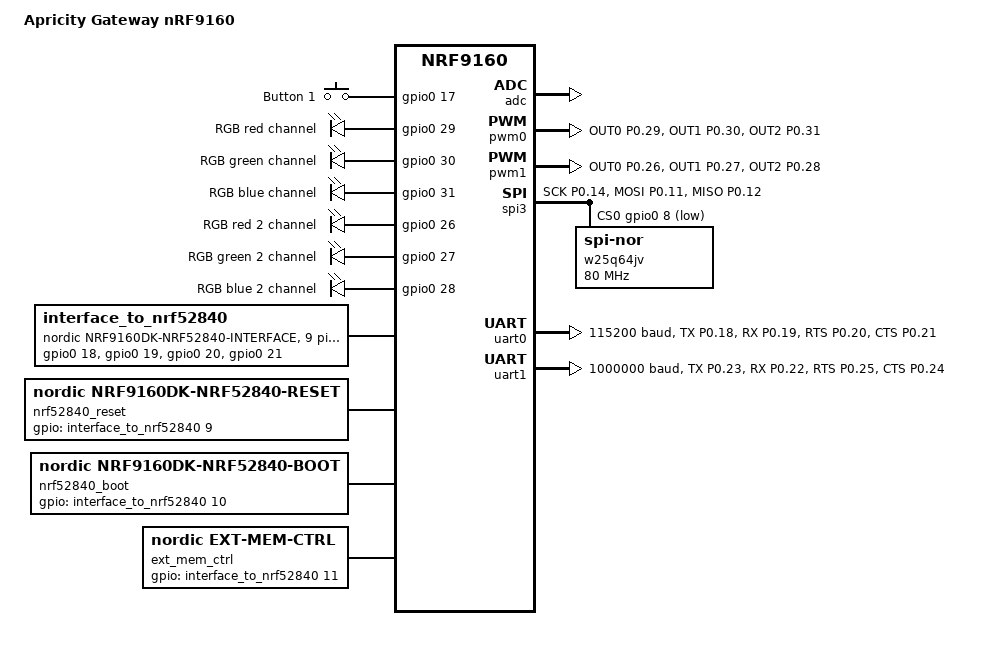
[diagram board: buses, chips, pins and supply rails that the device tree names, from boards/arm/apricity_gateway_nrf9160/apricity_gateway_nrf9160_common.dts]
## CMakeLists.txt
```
#
# Copyright (c) 2024 Nordic Semiconductor ASA
#
# SPDX-License-Identifier: LicenseRef-Nordic-5-Clause
#

cmake_minimum_required(VERSION 3.20.0)

set(BOARD_ROOT ${CMAKE_CURRENT_LIST_DIR})

find_package(Zephyr REQUIRED HINTS $ENV{ZEPHYR_BASE})
project(nrf_cloud_ble_gateway)
zephyr_compile_definitions(PROJECT_NAME=${PROJECT_NAME})

# Include certs files if enabled.
zephyr_include_directories_ifdef(CONFIG_NRF_CLOUD_PROVISION_CERTIFICATES certs)

# NORDIC SDK APP START
target_sources(app PRIVATE src/main.c)
target_sources(app PRIVATE src/application.c)
target_sources(app PRIVATE src/cloud_connection.c)
target_sources(app PRIVATE src/message_queue.c)
target_sources(app PRIVATE src/temperature.c)
target_sources(app PRIVATE src/fota_support.c)
target_sources(app PRIVATE src/led_control.c)
target_sources(app PRIVATE src/sample_reboot.c)
target_sources(app PRIVATE src/shadow_config.c)

if(CONFIG_LOCATION_TRACKING)
target_sources(app PRIVATE src/location_tracking.c)
endif()

if(CONFIG_COAP_SHADOW)
target_sources(app PRIVATE src/shadow_support_coap.c)
endif()

if(CONFIG_COAP_FOTA)
target_sources(app PRIVATE src/fota_support_coap.c)
endif()

if(CONFIG_NRF_PROVISIONING)
target_sources(app PRIVATE src/provisioning_support.c)
endif()

# Include modem-specific features if supported
if(CONFIG_NRF_MODEM_LIB)
	target_sources(app PRIVATE src/at_commands.c)
endif()

zephyr_include_directories(src)

if (CONFIG_NRF_CLOUD_GATEWAY)
    target_sources(app PRIVATE src/ble/ble.c)
    target_sources(app PRIVATE src/ble/ble_codec.c)
    target_sources(app PRIVATE src/ble/ble_conn_mgr.c)
    target_sources(app PRIVATE src/ble/gateway.c)
    target_sources_ifdef(CONFIG_SHELL app PRIVATE src/ble/cli.c)
    target_sources_ifdef(CONFIG_GATEWAY_BLE_FOTA app PRIVATE src/ble/dfu/peripheral_dfu.c)
    target_sources_ifdef(CONFIG_FLASH_TEST, app PRIVATE src/ble/flash/flash_test.c)
    zephyr_include_directories(src src/ble src/ble/flash src/ble/dfu)
    #add_subdirectory(src/ble/dfu)
    add_subdirectory(src/ble/flash)
endif()

# NORDIC SDK APP END
```

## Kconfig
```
#
# Copyright (c) 2024 Nordic Semiconductor ASA
#
# SPDX-License-Identifier: LicenseRef-Nordic-5-Clause
#

menu "nRF Cloud BLE Gateway Sample Settings"

config APP_VERSION
	string "nRF Cloud BLE Gateway Sample version"
	default "1.0.0"

config USE_BT_HCI_SETUP
	bool "Use BT HCI setup"
	default y
	select BT_HCI_SETUP
	help
	  Get the setup to run.

config CLOUD_CONNECTION_RETRY_TIMEOUT_SECONDS
	int "Cloud connection retry timeout (seconds)"
	default 30
	help
	  If connecting to nRF Cloud takes longer than this timeout, it will be
	  reattempted.

config CLOUD_READY_TIMEOUT_SECONDS
	int "Cloud readiness timeout (seconds)"
	default 600
	help
	  If the connection to nRF Cloud does not become ready within this
	  timeout, the sample will reset its connection and try again.

config DATE_TIME_ESTABLISHMENT_TIMEOUT_SECONDS
	int "Modem date and time establishment timeout (seconds)"
	default 300
	help
	  The sample will wait this many seconds for the modem to determine the
	  current date and time before giving up and moving on.

config APPLICATION_THREAD_STACK_SIZE
	int "Application Thread Stack Size (bytes)"
	default 2048
	help
	  Sets the stack size (in bytes) for the application thread of the
	  sample.

config CONNECTION_THREAD_STACK_SIZE
	int "Connection Thread Stack Size (bytes)"
	default 2048
	help
	  Sets the stack size (in bytes) for the connection thread of the
	  sample.

config MESSAGE_THREAD_STACK_SIZE
	int "Message Queue Thread Stack Size (bytes)"
	default 2048
	help
	  Sets the stack size (in bytes) for the message queue processing
	  thread of the sample.

config LED_THREAD_STACK_SIZE
	int "LED Thread Stack Size (bytes)"
	default 1024
	help
	  Sets the stack size (in bytes) for the LED thread.

config MAX_OUTGOING_MESSAGES
	int "Outgoing message maximum"
	default 25
	help
	  Sets the maximum number of device messages which may be enqueued
	  before further messages are dropped.
	  Increasing this value may require an increase to CONFIG_HEAP_MEM_POOL_SIZE.

config MAX_CONSECUTIVE_SEND_FAILURES
	int "Max outgoing consecutive send failures"
	default 5
	help
	  Sets the maximum number of device messages which may fail to send
	  before a connection reset and cooldown is triggered.

config CONSECUTIVE_SEND_FAILURE_COOLDOWN_SECONDS
	int "Cooldown after max consecutive send failures exceeded"
	default 10
	help
	  If a connection reset is triggered by too many failed device
	  messages, the sample will wait this long (in seconds) before trying
	  again.

config SENSOR_SAMPLE_INTERVAL_SECONDS
	int "Sensor sampling interval (seconds)"
	default 60
	help
	  Sets the time to wait between each sensor sample.

menuconfig LOCATION_TRACKING
	bool "Location tracking service"
	default y
	help
	  Uses GNSS, LTE, and/or Wi-Fi information to determine and report device
	  location.

if LOCATION_TRACKING

config LOCATION_TRACKING_SAMPLE_INTERVAL_SECONDS
	int "Location sampling interval (seconds)"
	default 60
	help
	  Sets the location sampling interval in seconds.

config LOCATION_TRACKING_GNSS
	bool "Use GNSS method for location tracking"
	default y
	depends on LOCATION_METHOD_GNSS
	help
	  Disable all location tracking methods to completely disable location tracking.

config LOCATION_TRACKING_CELLULAR
	bool "Use cellular method for location tracking"
	default y
	depends on LOCATION_METHOD_CELLULAR
	help
	  Disable all location tracking methods to completely disable location tracking.

config LOCATION_TRACKING_WIFI
	bool "Use Wi-Fi method for location tracking"
	default n
	depends on LOCATION_METHOD_WIFI
	help
	  Requires the use of an nRF7002 companion chip.
	  Disable all location tracking methods to completely disable location tracking.

endif

config TEMP_DATA_USE_SENSOR
	bool "Use genuine temperature data"
	depends on BOARD_THINGY91_NRF9160_NS || BOARD_THINGY91X_NRF9151_NS
	default y if BOARD_THINGY91_NRF9160_NS || BOARD_THINGY91X_NRF9151_NS
	select SENSOR
	select BME680
	help
	  Sets whether to take genuine temperature measurements from a
	  connected BME680 sensor, or just simulate sensor data.

config TEMP_TRACKING
	bool "Track temperature"
	default y
	select NRF_CLOUD_ENABLE_SVC_INF_UI_TEMP
	help
	  Sets whether to take temperature measurements.

config TEMP_ALERT_LIMIT
	int "Temperature limit to send alert"
	default 30
	help
	  Sets the temperature in degrees C over which a temperature alert will
	  be sent to the cloud.

choice
	prompt "LED indication"
	default LED_INDICATION_PWM if BOARD_THINGY91_NRF9160_NS || BOARD_THINGY91X_NRF9151_NS
	default LED_INDICATION_GPIO if BOARD_NRF9160DK_NRF9160_NS || BOARD_NRF9161DK_NRF9161_NS || $(dt_compat_enabled,gpio-leds)
	default LED_INDICATION_DISABLED

	config LED_INDICATION_PWM
		select LED
		select LED_PWM
		select PWM
		bool "Enable LED indication using the pwm-leds driver"

	config LED_INDICATION_GPIO
		select LED
		select LED_GPIO
		bool "Enable LED indication using the gpio-leds driver"

	config LED_INDICATION_DISABLED
		bool "Disable LED indication"
endchoice

choice
	prompt "LED indication LED type"
	depends on !LED_INDICATION_DISABLED
	default LED_INDICATOR_RGB if (BOARD_THINGY91_NRF9160_NS || BOARD_THINGY91X_NRF9151_NS) && LED_INDICATION_PWM
	default LED_INDICATOR_4LED if !LED_INDICATION_DISABLED
	default LED_INDICATOR_NONE

	config LED_INDICATOR_RGB
		depends on LED_INDICATION_PWM
		bool "A single RGB LED"

	config LED_INDICATOR_4LED
		depends on !LED_INDICATION_DISABLED
		bool "Four binary LEDs"

	config LED_INDICATOR_NONE
		depends on LED_INDICATION_DISABLED
		bool "No indicator LEDs"

endchoice

config LED_VERBOSE_INDICATION
	depends on !LED_INDICATION_DISABLED
	bool "Enables extra LED status indications"
	default y

config LED_CONTINUOUS_INDICATION
	depends on !LED_INDICATION_DISABLED
	bool "Show an idle pattern instead of turning LEDs off"
	default y

config GNSS_FIX_TIMEOUT_SECONDS
	int "GNSS Fix timeout"
	default 40
	help
	  On each location sample, try for this long to achieve a GNSS fix
	  before falling back to cellular positioning.
	  Set this to 20 or so seconds below the sensor sample interval so
	  that there is time left over to perform cellular positioning.
	  Otherwise, location samples may occur at a longer interval than
	  requested.

config TEST_COUNTER
	bool "Sets whether the test counter is enabled"
	help
	  When enabled, the test counter configuration setting in the shadow is ignored.

config TEST_COUNTER_MULTIPLIER
	int "The number of test counter messages sent on each update"
	default 1
	range 1 1000
	help
	  This is a way to increase the number of device messages sent by the sample.
	  It is useful for load testing.

config AT_CMD_REQUESTS
	depends on !NRF_CLOUD_COAP
	bool "Enables remote execution of AT commands using device messages"
	default y

config AT_CMD_REQUEST_RESPONSE_BUFFER_LENGTH
	int "Max length (in bytes) for Modem responses during AT command requests"
	help
	  Responses to modem AT commands are stored in a buffer of this length before being sent to
	  nRF Cloud. If a response from the modem exceeds this length, it will be dropped, and an
	  error code sent in its place (-NRF_E2BIG). Cannot be less than 40 bytes.
	default 200

config SEND_ONLINE_ALERT
	bool "Sends a routine ALERT_TYPE_DEVICE_NOW_ONLINE on startup"
	help
	  Enable this to demonstrate the alert feature of nRF Cloud. Reception of this alert
	  indicates the device has rebooted.

config POST_PROVISIONING_INTERVAL_M
	int "Delay in minutes between provisioning checks once connected"
	default 30
	help
	  Use a slower rate to check for provisioning after we have successfully connected.
	  Until then use CONFIG_NRF_PROVISIONING_INTERVAL_S.

if NRF_CLOUD_COAP

menuconfig COAP_FOTA
	bool "FOTA service when using CoAP to connect to nRF Cloud"
	select FOTA_DOWNLOAD
	select FOTA_DOWNLOAD_PROGRESS_EVT
	select IMG_ERASE_PROGRESSIVELY
	select DFU_TARGET
	select DOWNLOADER
	select REBOOT
	select CJSON_LIB
	select SETTINGS
	default y

if COAP_FOTA

config COAP_FOTA_JOB_CHECK_RATE_MINUTES
	int "FOTA job check interval (minutes)"
	default 60
	help
	  Sets the time to wait between each request to get any pending FOTA job.

config COAP_FOTA_THREAD_STACK_SIZE
	int "CoAP FOTA Thread Stack Size (bytes)"
	default 2048
	help
	  Sets the stack size (in bytes) for the CoAP FOTA thread of the
	  sample.

endif

menuconfig COAP_SHADOW
	bool "Updating shadow service"
	default y
	help
	  Updates the shadow with device information. Checks for a shadow
	  delta periodically and processes it if received.

if COAP_SHADOW

config COAP_SHADOW_CHECK_RATE_SECONDS
	int "Shadow job check interval (seconds)"
	default 300
	help
	  Sets the time to wait between each request to get any change to the
	  device shadow.

config COAP_SHADOW_THREAD_STACK_SIZE
	int "CoAP Shadow Thread Stack Size (bytes)"
	default 3072
	help
	  Sets the stack size (in bytes) for the CoAP shadow thread of the
	  sample.

endif

config COAP_SEND_CONFIRMABLE
	bool "Send device messages as confirmable"
	help
	  Ensures all CoAP transfers, even for often less important messages such
	  as sensor data, are sent as confirmable messages.

endif

endmenu

config APPLICATION_WORKQUEUE_STACK_SIZE
	int "Application workqueue stack size"
	default 4096

config APPLICATION_WORKQUEUE_PRIORITY
	int "Application workqueue priority"
	default SYSTEM_WORKQUEUE_PRIORITY

config FLASH_TEST
	bool "Enable Flash Test module"
	default n
	select NRFX_SPIM if FLASH_TEST
	select NRFX_SPIM3 if FLASH_TEST
	select SPI if FLASH_TEST
	select SPI_NOR if FLASH_TEST
	help
	  Enable to test Erase, Write, and Read of external flash.

config CLOUD_BUTTON
	bool "Enable button sensor"
	default y

config CLOUD_BUTTON_INPUT
	int "Set button sensor button number"
	range 1 4 if BOARD_NRF9160_PCA10090NS
	range 1 1 if BOARD_NRF9160_PCA20035NS
	default 1

config ENTER_52840_MCUBOOT_VIA_BUTTON
	bool "Button enables 52840 MCUboot"
	depends on BOARD_APRICITY_GATEWAY_NRF9160 || BOARD_APRICITY_GATEWAY_NRF9160_NS
	help
	  Holding a button during and after startup will place the
	  nrf52840 into MCUboot mode so the firmware can be updated.

config SHELL_PROMPT_SECURE
	string "Displayed prompt name"
	default "uart:~# "
	help
	  Displayed prompt name for UART backend once user has logged in.

config SHELL_DEFAULT_PASSWORD
	string "Factory-set initial password"
	default "nordic"
	help
	  User needs to type this to enter the shell and execute
	  commands.

config GATEWAY_BLE_FOTA
	bool "Enable BLE FOTA support"
	default y
	help
	  Enable ability to receive FOTA jobs for specific BLE devices,
	  then inject data from one or more file downloads to a BLE
	  device that supports a compatible DFU protocol.

config GATEWAY_DBG_CMDS
	bool "Enable debugging commands"
	default y
	select CPU_LOAD
	select CPU_LOAD_CMDS
	select KERNEL_SHELL

config GATEWAY_SHELL
	bool "Enable shell for administering nRF Cloud gateway"
	default y
	select SHELL
	select SHELL_CMDS
	select SHELL_HISTORY
	select SHELL_METAKEYS
	select SHELL_VT100_COLORS
	select SHELL_BACKEND_SERIAL
	select SHELL_CMDS_SELECT

config STARTING_LOG_OVERRIDE
	bool "Different logging level at boot"
	default n
	help
	  All configured logging will occur if disabled. Otherwise,
	  logging changed to STARTING_LOG_LEVEL until user logs in and
	  manually enables with 'log enable inf' (or whatever level is
	  desired).

choice
	prompt "Max compiled-in log level to boot with"
	default STARTING_LOG_LEVEL_INF
	depends on LOG

config STARTING_LOG_LEVEL_OFF
	bool "Off"

config STARTING_LOG_LEVEL_ERR
	bool "Error"

config STARTING_LOG_LEVEL_WRN
	bool "Warning"

config STARTING_LOG_LEVEL_INF
	bool "Info"

config STARTING_LOG_LEVEL_DBG
	bool "Debug"

endchoice

config STARTING_LOG_LEVEL
	int
	depends on LOG
	default 0 if STARTING_LOG_LEVEL_OFF
	default 1 if STARTING_LOG_LEVEL_ERR
	default 2 if STARTING_LOG_LEVEL_WRN
	default 3 if STARTING_LOG_LEVEL_INF
	default 4 if STARTING_LOG_LEVEL_DBG

if NRF_CLOUD_MQTT
module-str = MQTT BLE Gateway
endif
if NRF_CLOUD_COAP
module-str = CoAP BLE Gateway
endif
module = NRFCLOUD_BLE_GATEWAY
source "${ZEPHYR_BASE}/subsys/logging/Kconfig.template.log_config"

menu "Zephyr Kernel"
source "Kconfig.zephyr"
endmenu
```

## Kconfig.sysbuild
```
#
# Copyright (c) 2024 Nordic Semiconductor
#
# SPDX-License-Identifier: LicenseRef-Nordic-5-Clause
#

config WIFI_NRF70
	default y if BOARD_THINGY91X_NRF9151_NS

choice WIFI_NRF70_OPER_MODES
	default WIFI_NRF70_SCAN_ONLY if BOARD_THINGY91X_NRF9151_NS
endchoice

source "${ZEPHYR_BASE}/share/sysbuild/Kconfig"
```

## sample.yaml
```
sample:
  name: nRF Cloud BLE Gateway Sample
tests:
  sample.cellular.nrf_cloud_ble_gateway.mqtt:
    sysbuild: true
    build_only: true
    platform_allow:
      - nrf9151dk/nrf9151/ns
      - nrf9160dk/nrf9160/ns
      - nrf9161dk/nrf9161/ns
      - thingy91/nrf9160/ns
      - thingy91x/nrf9151/ns
    integration_platforms:
      - nrf9151dk/nrf9151/ns
      - nrf9160dk/nrf9160/ns
      - nrf9161dk/nrf9161/ns
      - thingy91/nrf9160/ns
      - thingy91x/nrf9151/ns
    tags: ci_build sysbuild ci_samples_cellular
  sample.cellular.nrf_cloud_ble_gateway.mqtt.full:
    sysbuild: true
    build_only: true
    platform_allow: nrf9160dk/nrf9160/ns
    integration_platforms:
      - nrf9160dk/nrf9160/ns
    extra_args: "EXTRA_CONF_FILE=\"overlay_full_modem_fota.conf;\
      overlay_pgps_ext_flash.conf;overlay_mcuboot_ext_flash.conf\""
    tags: ci_build sysbuild ci_samples_cellular
  sample.cellular.nrf_cloud_ble_gateway.mqtt.min:
    sysbuild: true
    build_only: true
    platform_allow: nrf9160dk/nrf9160/ns
    integration_platforms:
      - nrf9160dk/nrf9160/ns
    extra_args: EXTRA_CONF_FILE="overlay_min_mqtt.conf"
    tags: ci_build sysbuild ci_samples_cellular
  sample.cellular.nrf_cloud_ble_gateway.coap:
    sysbuild: true
    build_only: true
    platform_allow:
      - nrf9151dk/nrf9151/ns
      - nrf9160dk/nrf9160/ns
      - nrf9161dk/nrf9161/ns
      - thingy91/nrf9160/ns
      - thingy91x/nrf9151/ns
    integration_platforms:
      - nrf9151dk/nrf9151/ns
      - nrf9160dk/nrf9160/ns
      - nrf9161dk/nrf9161/ns
      - thingy91/nrf9160/ns
      - thingy91x/nrf9151/ns
    extra_args: EXTRA_CONF_FILE="overlay_coap.conf"
    tags: ci_build sysbuild ci_samples_cellular
  sample.cellular.nrf_cloud_ble_gateway.coap.min:
    sysbuild: true
    build_only: true
    platform_allow: nrf9160dk/nrf9160/ns
    integration_platforms:
      - nrf9160dk/nrf9160/ns
    extra_args: EXTRA_CONF_FILE="overlay_coap.conf;overlay_min_coap.conf"
    tags: ci_build sysbuild ci_samples_cellular
  sample.cellular.nrf_cloud_ble_gateway.coap.trace:
    sysbuild: true
    build_only: true
    platform_allow:
      - nrf9151dk/nrf9151/ns
      - nrf9160dk/nrf9160/ns
      - nrf9161dk/nrf9161/ns
    integration_platforms:
      - nrf9151dk/nrf9151/ns
      - nrf9160dk/nrf9160/ns
      - nrf9161dk/nrf9161/ns
    extra_args: EXTRA_CONF_FILE="overlay-coap_nrf_provisioning.conf;overlay_coap.conf"
      nrf_cloud_ble_gateway_SNIPPET=nrf91-modem-trace-uart
    tags: ci_build sysbuild ci_samples_cellular
  sample.cellular.nrf7002ek_wifi.scan:
    sysbuild: true
    build_only: true
    integration_platforms:
      - nrf9151dk/nrf9151/ns
      - nrf9160dk/nrf9160/ns
      - nrf9161dk/nrf9161/ns
    platform_allow:
      - nrf9151dk/nrf9151/ns
      - nrf9160dk/nrf9160/ns
      - nrf9161dk/nrf9161/ns
    extra_args: nrf_cloud_ble_gateway_SHIELD=nrf7002ek_nrf7000
      EXTRA_CONF_FILE="overlay-nrf7002ek-wifi-scan-only.conf"
      SB_CONF_FILE="sysbuild_nrf700x-wifi-scan.conf"
    tags: ci_build sysbuild ci_samples_cellular
  sample.cellular.nrf7002ek_wifi.conn:
    sysbuild: true
    build_only: true
    integration_platforms:
      - nrf5340dk/nrf5340/cpuapp/ns
    platform_allow: nrf5340dk/nrf5340/cpuapp/ns
    extra_args: nrf_cloud_ble_gateway_SHIELD=nrf7002ek
      EXTRA_CONF_FILE="overlay_nrf700x_wifi_mqtt_no_lte.conf"
      SB_CONF_FILE="sysbuild_nrf700x-wifi-conn.conf"
    tags: ci_build sysbuild ci_samples_cellular
  sample.cellular.nrf7002dk_wifi.conn:
    sysbuild: true
    build_only: true
    integration_platforms:
      - nrf7002dk/nrf5340/cpuapp/ns
    platform_allow: nrf7002dk/nrf5340/cpuapp/ns
    extra_args: EXTRA_CONF_FILE="overlay_nrf700x_wifi_mqtt_no_lte.conf"
      SB_CONF_FILE="sysbuild_nrf700x-wifi-conn.conf"
    tags: ci_build sysbuild ci_samples_cellular
```

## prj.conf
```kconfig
#
# Copyright (c) 2024 Nordic Semiconductor ASA
#
# SPDX-License-Identifier: LicenseRef-Nordic-5-Clause
#

# Log level
# For more verbose and detailed log output, set the log level to
# CONFIG_NRFCLOUD_BLE_GATEWAY_LOG_LEVEL_DBG=y instead.
CONFIG_NRFCLOUD_BLE_GATEWAY_LOG_LEVEL_INF=y

# General config
CONFIG_EVENTS=y
CONFIG_PICOLIBC_IO_FLOAT=y
CONFIG_RESET_ON_FATAL_ERROR=y
CONFIG_NCS_SAMPLES_DEFAULTS=y
CONFIG_DK_LIBRARY=y

# LED indication
# Uncomment these to minimize LED state indication when power savings are necessary
# CONFIG_LED_VERBOSE_INDICATION=n
# CONFIG_LED_CONTINUOUS_INDICATION=n

# Or, uncomment this to completely disable LED state indication
# CONFIG_LED_INDICATION_DISABLED=y

# Improved Logging
# CONFIG_LOG_MODE_DEFERRED allows logging from multiple threads simultaneously without creating
# splintered log entries, at the cost of needing a buffer for storing logs.
CONFIG_LOG_MODE_DEFERRED=y

# CONFIG_LOG_BUFFER_SIZE is the aforementioned buffer. A size of 12000 bytes is useful for debugging
# and prototyping, but is probably more than necessary for production-ready firmware.
CONFIG_LOG_BUFFER_SIZE=12000
CONFIG_LOG_SPEED=y
CONFIG_LOG_FUNC_NAME_PREFIX_INF=y
CONFIG_LOG_FUNC_NAME_PREFIX_ERR=y
CONFIG_LOG_PRINTK=y

# Heap and stacks
# Extended AT host/monitor stack/heap sizes since some nrf_cloud credentials are longer than 1024 bytes.
CONFIG_AT_MONITOR_HEAP_SIZE=2048
CONFIG_AT_HOST_STACK_SIZE=2048
# Extended memory heap size needed both for PGPS and for encoding JSON-based nRF Cloud Device Messages.
CONFIG_HEAP_MEM_POOL_SIZE=20480
CONFIG_MAIN_STACK_SIZE=3072
CONFIG_SYSTEM_WORKQUEUE_STACK_SIZE=4096
CONFIG_APPLICATION_WORKQUEUE_STACK_SIZE=4096
# The default modem shared memory buffer for TX is significantly larger than required.
# RX buffer has to be larger because the sample reads certificates so using default value.
CONFIG_NRF_MODEM_LIB_SHMEM_TX_SIZE=4096
CONFIG_HW_STACK_PROTECTION=y
CONFIG_EXTRA_EXCEPTION_INFO=y

# Enable Networking and Connection Manager.
CONFIG_NETWORKING=y
CONFIG_NET_SOCKETS=y
CONFIG_NET_SOCKETS_OFFLOAD=y
CONFIG_NET_MGMT_EVENT_STACK_SIZE=2048
CONFIG_NET_CONNECTION_MANAGER_MONITOR_STACK_SIZE=1024
CONFIG_MAIN_STACK_SIZE=2048

# Enable LTE Connectivity using Connection Manager
CONFIG_NET_IPV4=y
CONFIG_NET_IPV6=y
CONFIG_NET_IPV6_NBR_CACHE=n
CONFIG_NET_IPV6_MLD=n
CONFIG_NET_CONNECTION_MANAGER=y
CONFIG_NRF_MODEM_LIB_NET_IF=y
CONFIG_NRF_MODEM_LIB_NET_IF_AUTO_DOWN=y
CONFIG_NRF_MODEM_LIB_NET_IF_DOWN_DEFAULT_LTE_DISCONNECT=y

# Enable power savings mode
CONFIG_LTE_PSM_REQ=n
# Set the PSM Requested Active Time to 20 seconds
#CONFIG_LTE_PSM_REQ_RAT="00001010"

# Modem library
CONFIG_NRF_MODEM_LIB=y

# AT commands interface
CONFIG_UART_INTERRUPT_DRIVEN=y
CONFIG_AT_HOST_LIBRARY=y

# Wait for credential installation to be complete before connecting to nRF Cloud
CONFIG_NRF_CLOUD_CHECK_CREDENTIALS=y

# nRF Cloud
CONFIG_NRF_CLOUD=y
CONFIG_NRF_CLOUD_MQTT=y # This also enables FOTA by implicitly setting CONFIG_NRF_CLOUD_FOTA=y

# MQTT
CONFIG_MQTT_KEEPALIVE=120

# MCUBOOT - Needed by FOTA
CONFIG_BOOTLOADER_MCUBOOT=y
CONFIG_IMG_MANAGER=y
CONFIG_MCUBOOT_IMG_MANAGER=y
CONFIG_STREAM_FLASH_ERASE=y

# not enough flash to enable these currently:
CONFIG_SECURE_BOOT=n
#CONFIG_BUILD_S1_VARIANT=y
#CONFIG_SPM_SERVICE_S0_ACTIVE=y

# Services configuration
CONFIG_TEMP_TRACKING=n
CONFIG_LOCATION_TRACKING=n
CONFIG_LOCATION=n
CONFIG_LOCATION_METHOD_GNSS=n
CONFIG_LOCATION_METHOD_CELLULAR=n
CONFIG_NRF_CLOUD_AGNSS=n
CONFIG_NRF_CLOUD_LOCATION=n
CONFIG_MODEM_INFO=y
CONFIG_MODEM_INFO_ADD_NETWORK=y
CONFIG_MODEM_INFO_ADD_SIM=y
CONFIG_NRF_CLOUD_PGPS=n
#CONFIG_NRF_CLOUD_PGPS_REPLACEMENT_THRESHOLD=4
#CONFIG_NRF_CLOUD_PGPS_REQUEST_UPON_INIT=y
CONFIG_NRF_CLOUD_MQTT_SHADOW_TRANSFORMS=y

# Date Time lib - Used by PGPS and main application
CONFIG_DATE_TIME=y

# LTE link control - used by PGPS and main application
CONFIG_LTE_LINK_CONTROL=y
CONFIG_LTE_LC_EDRX_MODULE=y
CONFIG_LTE_LC_PSM_MODULE=y

# Settings - used by nRF Cloud library and PGPS
CONFIG_SETTINGS=y
CONFIG_SETTINGS_FCB=y
CONFIG_FCB=y

# Download Client - used by FOTA and PGPS
CONFIG_DOWNLOADER=y
CONFIG_DOWNLOADER_STACK_SIZE=4096
CONFIG_DOWNLOADER_MAX_HOSTNAME_SIZE=128

# Flash - Used by FOTA and PGPS
CONFIG_FLASH=y
CONFIG_FLASH_PAGE_LAYOUT=y
CONFIG_FLASH_MAP=y
CONFIG_STREAM_FLASH=y
CONFIG_MPU_ALLOW_FLASH_WRITE=y
CONFIG_NRF_CLOUD_ALERT=n
CONFIG_NRF_CLOUD_LOG_DIRECT=n
CONFIG_NRF_CLOUD_LOG_OUTPUT_LEVEL=3

# On initial connection to the cloud, add info sections to the shadow
CONFIG_NRF_CLOUD_SEND_DEVICE_STATUS=y
CONFIG_NRF_CLOUD_SEND_DEVICE_STATUS_NETWORK=y
CONFIG_NRF_CLOUD_SEND_DEVICE_STATUS_SIM=y
CONFIG_NRF_CLOUD_SEND_SERVICE_INFO_FOTA=y
CONFIG_NRF_CLOUD_SEND_SERVICE_INFO_UI=n

# Instrument the heap
CONFIG_MEM_SLAB_TRACE_MAX_UTILIZATION=y
CONFIG_SYS_HEAP_RUNTIME_STATS=y

CONFIG_GATEWAY_BLE_FOTA=n

# Enable Bluetooth stack and libraries
#DT_HAS_ZEPHYR_BT_HCI_UART_ENABLED && BT_HCI && BT_DRIVERS

CONFIG_BT=y
CONFIG_BT_H4=y
CONFIG_BT_HCI=y
CONFIG_BT_CTLR=n
CONFIG_BT_CENTRAL=y
CONFIG_BT_DRIVERS=y
CONFIG_BT_WAIT_NOP=y
CONFIG_BT_GATT_CLIENT=y
CONFIG_BT_GATT_DM=y
CONFIG_BT_SCAN=y
CONFIG_BT_SCAN_FILTER_ENABLE=y
CONFIG_BT_SCAN_UUID_CNT=1
CONFIG_BT_SCAN_NAME_CNT=0
CONFIG_BT_MAX_CONN=8
CONFIG_BT_BUF_ACL_RX_COUNT_EXTRA=1
CONFIG_BT_GATT_DM_MAX_ATTRS=100
CONFIG_BT_FILTER_ACCEPT_LIST=y
CONFIG_BT_SETTINGS=n
CONFIG_BT_EXT_ADV=y
CONFIG_BT_HCI_VS=y
CONFIG_BT_REMOTE_VERSION=y

#CONFIG_BT_DEBUG_LOG=y
#CONFIG_BT_DEBUG_CONN=y
#CONFIG_BT_DEBUG_GATT=n
#CONFIG_BT_DEBUG_HCI_CORE=y
#CONFIG_BT_DEBUG_HCI_DRIVER=y
CONFIG_BT_LOG_LEVEL_INF=y

CONFIG_BT_HCI_TX_STACK_SIZE=2048
CONFIG_BT_HCI_TX_STACK_SIZE_WITH_PROMPT=y
CONFIG_BT_RX_STACK_SIZE=2048

# Gateway
CONFIG_NRF_CLOUD_GATEWAY=y
CONFIG_FLASH_TEST=n
CONFIG_AT_CMD_REQUESTS=n

# for customer builds, set below to n
CONFIG_GATEWAY_DBG_CMDS=y

# to enable AT command handling unfettered by the shell, turn the below
# option on, and CONFIG_GATEWAY_SHELL off (ignore warnings about the symbols
# in the block below that, or comment them out)
CONFIG_AT_HOST_LIBRARY=n
CONFIG_GATEWAY_SHELL=y

# set various buffer sizes in shell
CONFIG_SHELL_STACK_SIZE=6144
CONFIG_SHELL_CMD_BUFF_SIZE=3072
CONFIG_SHELL_PRINTF_BUFF_SIZE=4096
CONFIG_SHELL_BACKEND_SERIAL_API_INTERRUPT_DRIVEN=y
CONFIG_SHELL_BACKEND_SERIAL_RX_RING_BUFFER_SIZE=3072
CONFIG_SHELL_PROMPT_UART="login: "
CONFIG_SHELL_START_OBSCURED=y
CONFIG_SHELL_PROMPT_SECURE="gateway:# "

# turn on for low level BLE commands
CONFIG_BT_SHELL=n

# force these off -- they default on
CONFIG_LOG_CMDS=n
CONFIG_PWM_SHELL=n
CONFIG_BOOT_BANNER=n
CONFIG_FLASH_SHELL=n
CONFIG_DEVICE_SHELL=n
CONFIG_DEVMEM_SHELL=n
#CONFIG_SHELL_CMDS=n
CONFIG_SHELL_WILDCARD=n
CONFIG_SHELL_CMDS_RESIZE=y
CONFIG_CLOCK_CONTROL_NRF_SHELL=n

CONFIG_DEBUG_COREDUMP=n
#CONFIG_DEBUG_COREDUMP_BACKEND_LOGGING=y
#CONFIG_DEBUG_COREDUMP_MEMORY_DUMP_MIN=y

# change logging level when at login prompt
CONFIG_STARTING_LOG_OVERRIDE=y
CONFIG_STARTING_LOG_LEVEL_ERR=y
CONFIG_NRF_CLOUD_LOG_LEVEL_INF=y
CONFIG_NET_LOG=y
CONFIG_MQTT_LOG_LEVEL_INF=y

CONFIG_DEBUG_OPTIMIZATIONS=y
CONFIG_DEBUG_THREAD_INFO=y
CONFIG_THREAD_MONITOR=y
```

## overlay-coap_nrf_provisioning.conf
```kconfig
#
# Copyright (c) 2024 Nordic Semiconductor ASA
#
# SPDX-License-Identifier: LicenseRef-Nordic-5-Clause
#

# Enable provisioning library/provisioning shell dependencies
CONFIG_MODEM_JWT=y
CONFIG_MODEM_ATTEST_TOKEN=y

# Enable the provisioning library
CONFIG_NRF_PROVISIONING=y
CONFIG_NRF_PROVISIONING_AUTO_INIT=n
CONFIG_NRF_PROVISIONING_COAP=y

# Enable provisioning shell
CONFIG_SHELL=y
CONFIG_NRF_PROVISIONING_SHELL=y

# Adjust shell buffer sizes to handle nRF Cloud certs
CONFIG_SHELL_BACKEND_SERIAL_RX_RING_BUFFER_SIZE=4096
CONFIG_SHELL_CMD_BUFF_SIZE=4096
CONFIG_SHELL_BACKEND_SERIAL_API_INTERRUPT_DRIVEN=y

# Disable AT host and switch to using shell
CONFIG_AT_HOST_LIBRARY=n
CONFIG_AT_SHELL=y
CONFIG_SHELL_WILDCARD=n

# Configure provisioning message formatting
CONFIG_NRF_PROVISIONING_CODEC=y
CONFIG_NRF_PROVISIONING_CBOR=y
CONFIG_ZCBOR=y

# Include provisioning service certificate as part of the binary.
# Used only if none has been provisioned
CONFIG_NRF_PROVISIONING_WITH_CERT=y
CONFIG_NRF_PROVISIONING_ROOT_CA_SEC_TAG=42
CONFIG_NRF_CLOUD_CLIENT_ID_SRC_INTERNAL_UUID=y

# Max provisioning commands per response
CONFIG_NRF_PROVISIONING_CBOR_RECORDS=20

# Set the provisioning interval to 60 seconds.
# This is a very frequent interval. To save power, set this to something approaching 24 hours.
# But note that provisioning may take up to twice as long as this interval, since it
# happens in two steps.
CONFIG_NRF_PROVISIONING_INTERVAL_S=60

# Request spread factor
CONFIG_NRF_PROVISIONING_SPREAD_S=5

# Adjust provisioning and buffer sizes to handle nRF Cloud certs
CONFIG_NRF_PROVISIONING_RX_BUF_SZ=4096
CONFIG_NRF_PROVISIONING_TX_BUF_SZ=4096
CONFIG_NRF_PROVISIONING_CODEC_AT_CMD_LEN=2048
CONFIG_NRF_PROVISIONING_CODEC_RX_SZ_START=2048

# CoAP Client
CONFIG_COAP_EXTENDED_OPTIONS_LEN=y
CONFIG_COAP_EXTENDED_OPTIONS_LEN_VALUE=64
CONFIG_COAP_CLIENT_THREAD_PRIORITY=0
CONFIG_COAP_CLIENT_BLOCK_SIZE=1024
CONFIG_COAP_CLIENT_MESSAGE_SIZE=1024
CONFIG_COAP_CLIENT_STACK_SIZE=6144
```

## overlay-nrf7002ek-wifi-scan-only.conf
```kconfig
#
# Copyright (c) 2022 Nordic Semiconductor ASA
#
# SPDX-License-Identifier: LicenseRef-Nordic-5-Clause
#

# Overlay to use nRF7002 EK on top of nrf9160 DK for Wi-Fi scanning

# Enable the Wi-Fi location method:
CONFIG_LOCATION_TRACKING_WIFI=y
CONFIG_LOCATION_METHOD_WIFI=y
# Align this with CONFIG_NRF_WIFI_SCAN_MAX_BSS_CNT.
# Also see comments for CONFIG_HEAP_MEM_POOL_SIZE.
CONFIG_LOCATION_METHOD_WIFI_SCANNING_RESULTS_MAX_CNT=10

# Enable Wi-Fi drivers
CONFIG_WIFI=y
CONFIG_WIFI_NRF70=y
CONFIG_WIFI_NRF70_SKIP_LOCAL_ADMIN_MAC=y
# Align this with CONFIG_LOCATION_METHOD_WIFI_SCANNING_RESULTS_MAX_CNT.
# Also see comments for CONFIG_HEAP_MEM_POOL_SIZE.
CONFIG_NRF_WIFI_SCAN_MAX_BSS_CNT=10
CONFIG_NET_L2_ETHERNET=y
# We need 2 to ensure nrf9x_socket gets an IP address regardless of order of net_if array
CONFIG_NET_IF_MAX_IPV4_COUNT=2
CONFIG_NET_IF_MAX_IPV6_COUNT=2

# But disable the supplicant, since we don't need connectivity
CONFIG_WIFI_NM_WPA_SUPPLICANT=n
CONFIG_MBEDTLS=n

# Stack/heap tweaks needed to support Wi-Fi.
# Heap allocation should be changed when CONFIG_LOCATION_METHOD_WIFI_SCANNING_RESULTS_MAX_CNT
# and CONFIG_NRF_WIFI_SCAN_MAX_BSS_CNT (which should be the same value) are changed.
CONFIG_HEAP_MEM_POOL_SIZE=20000
CONFIG_HEAP_MEM_POOL_IGNORE_MIN=y
CONFIG_MAIN_STACK_SIZE=2048
CONFIG_NET_MGMT_EVENT_STACK_SIZE=1024

# NET tweaks needed to support Wi-FI
CONFIG_NET_BUF_RX_COUNT=1
CONFIG_NET_BUF_TX_COUNT=1
CONFIG_NET_PKT_RX_COUNT=1
CONFIG_NET_PKT_TX_COUNT=1
CONFIG_NET_TX_STACK_SIZE=512
CONFIG_NET_RX_STACK_SIZE=512
CONFIG_NET_TC_TX_COUNT=1
CONFIG_NET_MAX_CONTEXTS=5

# Disable LED patterns, enabling WiFi scanning takes control of two LEDs
CONFIG_LED_INDICATION_DISABLED=y
```

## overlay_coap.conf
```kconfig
#
# Copyright (c) 2022 Nordic Semiconductor ASA
#
# SPDX-License-Identifier: LicenseRef-Nordic-5-Clause
#

# General config
CONFIG_FPU=y
CONFIG_NEWLIB_LIBC_NANO=n

# Rate of cloud interactions
# These are faster than one normally would use in a low power device.
# This is strictly for demo purposes.
CONFIG_SENSOR_SAMPLE_INTERVAL_SECONDS=120
CONFIG_LOCATION_TRACKING_SAMPLE_INTERVAL_SECONDS=360
CONFIG_COAP_FOTA_JOB_CHECK_RATE_MINUTES=2
CONFIG_COAP_SHADOW_CHECK_RATE_SECONDS=120

# Logs
CONFIG_LOG=y
CONFIG_NET_LOG=y
CONFIG_LOG_PRINTK=y
CONFIG_COAP_LOG_LEVEL_INF=y
CONFIG_LOCATION_LOG_LEVEL_INF=y
CONFIG_NRF_CLOUD_COAP_LOG_LEVEL_INF=y
CONFIG_MULTI_SERVICE_LOG_LEVEL_INF=y

# LTE link control - used by PGPS and main application
CONFIG_LTE_LINK_CONTROL=y

# Modem
CONFIG_MODEM_KEY_MGMT=y
CONFIG_MODEM_JWT=y
CONFIG_MODEM_INFO_ADD_DEVICE=y
CONFIG_MODEM_INFO_ADD_DATE_TIME=n
CONFIG_MODEM_INFO_ADD_SIM=n
CONFIG_MODEM_INFO_ADD_SIM_ICCID=n
CONFIG_MODEM_INFO_ADD_SIM_IMSI=n

# Network
CONFIG_POSIX_API=y
CONFIG_NET_SOCKETS_TLS_SET_MAX_FRAGMENT_LENGTH=y
CONFIG_NET_SOCKETS_OFFLOAD_PRIORITY=40

# CoAP Client
CONFIG_COAP_CLIENT_BLOCK_SIZE=1024
CONFIG_COAP_CLIENT_STACK_SIZE=2048
CONFIG_COAP_CLIENT_THREAD_PRIORITY=0
CONFIG_COAP_CLIENT_MAX_INSTANCES=3
# The extended options length must be increased to perform FOTA and P-GPS downloads over CoAP.
CONFIG_COAP_EXTENDED_OPTIONS_LEN_VALUE=192

# Not compatible with ground-fix
CONFIG_ZCBOR_CANONICAL=n

# nRF Cloud
CONFIG_NRF_CLOUD_MQTT=n
CONFIG_NRF_CLOUD_COAP=y
CONFIG_NRF_CLOUD_ALERT=y
CONFIG_NRF_CLOUD_LOG_DIRECT=y
CONFIG_NRF_CLOUD_LOG_OUTPUT_LEVEL=3
CONFIG_NRF_CLOUD_LOG_LOG_LEVEL_INF=y
CONFIG_NRF_CLOUD_FOTA_POLL=y

# Disable MQTT-specific services; equivalent CoAP versions are used instead.
CONFIG_NRF_CLOUD_FOTA=n
CONFIG_NRF_CLOUD_LOCATION=n

# Location Services configuration
CONFIG_LOCATION_DATA_DETAILS=y

# Sample configuration
CONFIG_APPLICATION_THREAD_STACK_SIZE=4096
CONFIG_TEMP_ALERT_LIMIT=24
```

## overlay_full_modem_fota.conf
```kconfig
# Copyright (c) 2021 Nordic Semiconductor ASA
#
# SPDX-License-Identifier: LicenseRef-Nordic-5-Clause
#

# Full Modem FOTA
CONFIG_NRF_CLOUD_FOTA_FULL_MODEM_UPDATE=y
CONFIG_SPI=y
CONFIG_SPI_NOR=y
CONFIG_SPI_NOR_FLASH_LAYOUT_PAGE_SIZE=4096
# FMFU_FDEV requires additional stack space
CONFIG_CONNECTION_THREAD_STACK_SIZE=4096
CONFIG_PM_OVERRIDE_EXTERNAL_DRIVER_CHECK=y
CONFIG_PM_EXTERNAL_FLASH_MCUBOOT_SECONDARY=n
CONFIG_PM_SINGLE_IMAGE=y
# FMFU requires additional heap space.
# If the heap is too small, a boot loop can occur when the full modem image is installed.
CONFIG_HEAP_MEM_POOL_SIZE=47250
```

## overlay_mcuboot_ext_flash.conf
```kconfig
#
# Copyright (c) 2023 Nordic Semiconductor ASA
#
# SPDX-License-Identifier: LicenseRef-Nordic-5-Clause
#

CONFIG_SPI=y
CONFIG_SPI_NOR=y
CONFIG_SPI_NOR_FLASH_LAYOUT_PAGE_SIZE=4096
CONFIG_PM_OVERRIDE_EXTERNAL_DRIVER_CHECK=y

CONFIG_PM_EXTERNAL_FLASH_MCUBOOT_SECONDARY=y
```

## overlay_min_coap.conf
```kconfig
#
# Copyright (c) 2023 Nordic Semiconductor ASA
#
# SPDX-License-Identifier: LicenseRef-Nordic-5-Clause
#

# Save power by slowing down sample rate, and not using LEDs
CONFIG_SENSOR_SAMPLE_INTERVAL_SECONDS=60
CONFIG_LED_INDICATION_DISABLED=y
# Enable optional power savings mode for carrier roaming; this is compatible
# with nRF Cloud CoAP because communications are always initiated by the device.
# It is not compatible with MQTT.
CONFIG_LTE_PROPRIETARY_PSM_REQ=y

# PSM mode parameters
CONFIG_LTE_PSM_REQ_RPTAU="00100001"
CONFIG_LTE_PSM_REQ_RAT="00000000"

# eDRX
CONFIG_LTE_EDRX_REQ=n
CONFIG_LTE_EDRX_REQ_VALUE_LTE_M="1001"

# Disable serial logging to ensure minimum power draw
CONFIG_LOG=n
CONFIG_SERIAL=n
CONFIG_UART_INTERRUPT_DRIVEN=n
CONFIG_UART_CONSOLE=n
CONFIG_AT_HOST_LIBRARY=n
CONFIG_TFM_LOG_LEVEL_SILENCE=y
CONFIG_PM_DEVICE=y

# nRF Cloud
CONFIG_NRF_CLOUD_MQTT=n
CONFIG_NRF_CLOUD_COAP=y

# Disable most services
CONFIG_LOCATION_TRACKING=n
CONFIG_NRF_CLOUD_AGNSS=n
CONFIG_MODEM_INFO=n
CONFIG_MODEM_INFO_ADD_NETWORK=n
CONFIG_NRF_CLOUD_PGPS=n
CONFIG_NRF_CLOUD_PGPS_REQUEST_UPON_INIT=n
CONFIG_NRF_CLOUD_ALERT=n
CONFIG_NRF_CLOUD_LOG_DIRECT=n
CONFIG_NRF_CLOUD_SEND_DEVICE_STATUS=n
CONFIG_NRF_CLOUD_SEND_DEVICE_STATUS_NETWORK=n
CONFIG_NRF_CLOUD_SEND_DEVICE_STATUS_SIM=n
CONFIG_NRF_CLOUD_FOTA=n
CONFIG_NRF_CLOUD_LOCATION=n
CONFIG_COAP_FOTA=n
CONFIG_COAP_SHADOW=n

# Enable only temperature
CONFIG_TEMP_TRACKING=y

# General config
CONFIG_FPU=y
CONFIG_NEWLIB_LIBC_NANO=n

# LTE link control - used by PGPS and main application
CONFIG_LTE_LINK_CONTROL=y

# Modem
CONFIG_MODEM_KEY_MGMT=y
CONFIG_MODEM_JWT=y

# Network
CONFIG_POSIX_API=y
CONFIG_NET_SOCKETS_TLS_SET_MAX_FRAGMENT_LENGTH=y
CONFIG_NET_SOCKETS_OFFLOAD_PRIORITY=40

# CoAP Client
CONFIG_COAP_CLIENT_BLOCK_SIZE=1024
CONFIG_COAP_CLIENT_STACK_SIZE=6144
CONFIG_COAP_CLIENT_THREAD_PRIORITY=0
CONFIG_COAP_EXTENDED_OPTIONS_LEN_VALUE=40

CONFIG_APPLICATION_THREAD_STACK_SIZE=4096
```

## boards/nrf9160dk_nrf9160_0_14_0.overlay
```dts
/*
 * Copyright (c) 2021 Nordic Semiconductor ASA
 *
 * SPDX-License-Identifier: LicenseRef-Nordic-5-Clause
 */
/*
 * #include <nrf9160/nrf9160dk_uart1_on_if0_3.dtsi>
 * #include <nrf9160/nrf9160dk_nrf9160_common_0_14_0.dtsi>
 * #include <nrf9160/nrf9160dk_nrf52840_reset_on_if9.dtsi>
 */
#include <nrf9160/nrf9160dk_nrf9160_common_0_14_0.dtsi>

&nrf52840_reset {
	status = "okay";
};
```

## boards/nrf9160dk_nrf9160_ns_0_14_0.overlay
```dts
/*
 * Copyright (c) 2024 Nordic Semiconductor ASA
 *
 * SPDX-License-Identifier: LicenseRef-Nordic-5-Clause
 */
/* Use the reset line that is available starting from v0.14.0 of the DK. */
#include <nrf9160/nrf9160dk_nrf52840_reset_on_if9.dtsi>

/ {
	chosen {
		nordic,pm-ext-flash = &mx25r64;
	};
};

/* External flash device is disabled by default */
&mx25r64 {
	status = "okay";
};

/* Enable high drive mode for the SPI3 pins to get a square signal at 8 MHz */
&spi3_default {
	group1 {
		nordic,drive-mode = <NRF_DRIVE_H0H1>;
	};
};
```

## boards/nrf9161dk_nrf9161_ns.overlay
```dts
/*
 * Copyright (c) 2023 Nordic Semiconductor ASA
 *
 * SPDX-License-Identifier: LicenseRef-Nordic-5-Clause
 */

/ {
	/* Configure partition manager to use gd25wb256 as the external flash */
	chosen {
		nordic,pm-ext-flash = &gd25wb256;
	};
};

&gd25wb256 {
	status = "okay";
};
```

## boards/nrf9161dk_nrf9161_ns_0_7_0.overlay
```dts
/*
 * Copyright (c) 2023 Nordic Semiconductor ASA
 *
 * SPDX-License-Identifier: LicenseRef-Nordic-5-Clause
 */

/delete-node/ &gd25wb256;

/ {
	chosen {
		nordic,pm-ext-flash = &gd25lb256;
	};

	aliases {
		ext-flash = &gd25lb256;
	};
};

&gd25lb256 {
	status = "okay";
};
```

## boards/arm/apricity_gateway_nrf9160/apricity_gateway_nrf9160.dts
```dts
/*
 * Copyright (c) 2025 Nordic Semiconductor ASA
 *
 * SPDX-License-Identifier: LicenseRef-Nordic-5-Clause
 */

/dts-v1/;
#include <nordic/nrf9160_sica.dtsi>
#include "apricity_gateway_nrf9160_common.dts"

/ {
	chosen {
		zephyr,sram = &sram0;
		zephyr,flash = &flash0;
		zephyr,code-partition = &slot0_partition;
	};
};
```

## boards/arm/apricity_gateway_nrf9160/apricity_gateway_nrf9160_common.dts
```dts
/*
 * Copyright (c) 2024 Nordic Semiconductor ASA
 *
 * SPDX-License-Identifier: LicenseRef-BSD-5-Clause-Nordic
 */

/ {
	model = "Apricity Gateway nRF9160";
	compatible = "apricity,apricity-gateway-nrf9160";

	chosen {
		zephyr,console = &uart0;
		zephyr,shell-uart = &uart0;
		zephyr,uart-mcumgr = &uart0;
		zephyr,bt-uart=&uart1;
	};

	buttons {
		compatible = "gpio-keys";

		button0: button_0 {
			gpios = <&gpio0 17 0>;
			label = "Button 1";
		};
	};

	leds {
		compatible = "gpio-leds";
		red_led: led_1 {
			gpios = <&gpio0 29 0>;
			label = "RGB red channel";
		};
		green_led: led_2 {
			gpios = <&gpio0 30 0>;
			label = "RGB green channel";
		};
		blue_led: led_3 {
			gpios = <&gpio0 31 0>;
			label = "RGB blue channel";
		};
		red_led_2: led_4 {
			gpios = <&gpio0 26 0>;
			label = "RGB red 2 channel";
		};
		green_led_2: led_5 {
			gpios = <&gpio0 27 0>;
			label = "RGB green 2 channel";
		};
		blue_led_2: led_6 {
			gpios = <&gpio0 28 0>;
			label = "RGB blue 2 channel";
		};
	};

	interface_to_nrf52840: gpio-interface {
		compatible = "nordic,nrf9160dk-nrf52840-interface";
		#gpio-cells = <2>;
		gpio-map-mask = <0xf 0>;
		gpio-map-pass-thru = <0 0xffffffff>;
		gpio-map = <0 0 &gpio0 18 0>,
			   <1 0 &gpio0 19 0>,
			   <2 0 &gpio0 20 0>,
			   <3 0 &gpio0 21 0>,
			   <4 0 &gpio0 22 0>,
			   <5 0 &gpio0 23 0>,
			   /* 6: COEX0 */
			   /* 7: COEX1 */
			   /* 8: COEX2 */
			   <9 0 &gpio0 13 0>,
			   <10 0 &gpio0 5 0>,
			   <11 0 &gpio0 9 0>;
	};

	nrf52840_reset: gpio-reset {
		compatible = "nordic,nrf9160dk-nrf52840-reset";
		status = "okay";
		/*
		 * This line is specified as active high for compatibility
		 * with the previously used Kconfig-based configuration.
		 */
		gpios = <&interface_to_nrf52840 9 GPIO_ACTIVE_HIGH>;
	};

	nrf52840_boot: gpio-boot {
		compatible = "nordic,nrf9160dk-nrf52840-boot";
		status = "okay";
		gpios = <&interface_to_nrf52840 10 GPIO_PULL_UP>;
	};

	ext_mem_ctrl: gpio-ext-mem-ctrl {
		compatible = "nordic,ext-mem-ctrl";
		status = "okay";
		gpios = <&interface_to_nrf52840 11 0>;
	};

	aliases {
		sw0 = &button0;
		led0 = &red_led;
		led1 = &green_led;
		led2 = &blue_led;
		led0-1 = &red_led_2;
		led1-1 = &green_led_2;
		led2-1 = &blue_led_2;
		rgb-pwm = &pwm0;
		rgb2-pwm = &pwm1;
	};
};

&adc {
	status = "okay";
};

&gpiote {
	status = "okay";
};

&gpio0 {
	status = "okay";
};

/* PWM0 is intended for RGB LED control */
&pwm0 {
	compatible = "nordic,nrf-pwm";
	status = "okay";
	pinctrl-0 = <&pwm0_default>;
	pinctrl-1 = <&pwm0_sleep>;
	pinctrl-names = "default", "sleep";
};

/* PWM1 is intended for RGB LED control */
&pwm1 {
	compatible = "nordic,nrf-pwm";
	status = "okay";
	pinctrl-0 = <&pwm1_default>;
	pinctrl-1 = <&pwm1_sleep>;
	pinctrl-names = "default", "sleep";
};

&spi3 {
	compatible = "nordic,nrf-spim";
	status = "okay";
	pinctrl-0 = <&spi3_default_alt>;
	pinctrl-1 = <&spi3_sleep_alt>;
	pinctrl-names = "default", "sleep";
	cs-gpios = <&gpio0 8 1>;
	w25q64jv: w25q64jv@0 {
		status = "okay";
		compatible = "jedec,spi-nor";
		reg = <0>;
		spi-max-frequency = <80000000>;
		jedec-id = [ef 40 17];
		size = <67108864>;
	};
};

&pinctrl {
	spi3_default_alt: spi3_default_alt {
		group1 {
			psels = <NRF_PSEL(SPIM_SCK, 0, 14)>,
				<NRF_PSEL(SPIM_MOSI, 0, 11)>,
				<NRF_PSEL(SPIM_MISO, 0, 12)>;
			nordic,drive-mode = <NRF_DRIVE_H0H1>;
		};
	};

	spi3_sleep_alt: spi3_sleep_alt {
		group1 {
			psels = <NRF_PSEL(SPIM_SCK, 0, 14)>,
				<NRF_PSEL(SPIM_MOSI, 0, 11)>,
				<NRF_PSEL(SPIM_MISO, 0, 12)>;
			low-power-enable;
		};
	};

	pwm0_default: pwm0_default {
		group1 {
			psels = <NRF_PSEL(PWM_OUT0, 0, 29)>,
				<NRF_PSEL(PWM_OUT1, 0, 30)>,
				<NRF_PSEL(PWM_OUT2, 0, 31)>;
			nordic,invert;
		};
	};

	pwm0_sleep: pwm0_sleep {
		group1 {
			psels = <NRF_PSEL(PWM_OUT0, 0, 29)>,
				<NRF_PSEL(PWM_OUT1, 0, 30)>,
				<NRF_PSEL(PWM_OUT2, 0, 31)>;
			low-power-enable;
			nordic,invert;
		};
	};

	pwm1_default: pwm1_default {
		group1 {
			psels = <NRF_PSEL(PWM_OUT0, 0, 26)>,
				<NRF_PSEL(PWM_OUT1, 0, 27)>,
				<NRF_PSEL(PWM_OUT2, 0, 28)>;
			nordic,invert;
		};
	};

	pwm1_sleep: pwm1_sleep {
		group1 {
			psels = <NRF_PSEL(PWM_OUT0, 0, 26)>,
				<NRF_PSEL(PWM_OUT1, 0, 27)>,
				<NRF_PSEL(PWM_OUT2, 0, 28)>;
			low-power-enable;
			nordic,invert;
		};
	};

	uart0_default: uart0_default {
		group1 {
			psels = <NRF_PSEL(UART_TX, 0, 18)>,
				<NRF_PSEL(UART_RX, 0, 19)>,
				<NRF_PSEL(UART_RTS, 0, 20)>,
				<NRF_PSEL(UART_CTS, 0, 21)>;
		};
	};

	uart0_sleep: uart0_sleep {
		group1 {
			psels = <NRF_PSEL(UART_TX, 0, 18)>,
				<NRF_PSEL(UART_RX, 0, 19)>,
				<NRF_PSEL(UART_RTS, 0, 20)>,
				<NRF_PSEL(UART_CTS, 0, 21)>;
			low-power-enable;
		};
	};

	uart1_default: uart1_default {
		group1 {
			psels = <NRF_PSEL(UART_TX, 0, 23)>,
				<NRF_PSEL(UART_RX, 0, 22)>,
				<NRF_PSEL(UART_RTS, 0, 25)>,
				<NRF_PSEL(UART_CTS, 0, 24)>;
		};
	};

	uart1_sleep: uart1_sleep {
		group1 {
			psels = <NRF_PSEL(UART_TX, 0, 23)>,
				<NRF_PSEL(UART_RX, 0, 22)>,
				<NRF_PSEL(UART_RTS, 0, 25)>,
				<NRF_PSEL(UART_CTS, 0, 24)>;
			low-power-enable;
		};
	};
};

&uart0 {
	compatible = "nordic,nrf-uarte";
	current-speed = <115200>;
	status = "okay";
	pinctrl-0 = <&uart0_default>;
	pinctrl-1 = <&uart0_sleep>;
	pinctrl-names = "default", "sleep";
};

&uart1 {
	compatible = "nordic,nrf-uarte";
	current-speed = <1000000>;
	status = "okay";
	hw-flow-control;
	pinctrl-0 = <&uart1_default>;
	pinctrl-1 = <&uart1_sleep>;
	pinctrl-names = "default", "sleep";
};

&flash0 {
	/*
	 * For more information, see:
	 * http://docs.zephyrproject.org/devices/dts/flash_partitions.html
	 */
	partitions {
		compatible = "fixed-partitions";
		#address-cells = <1>;
		#size-cells = <1>;

		boot_partition: partition@0 {
			label = "mcuboot";
			reg = <0x00000000 0x10000>;
		};
		slot0_partition: partition@10000 {
			label = "image-0";
		};
		slot0_ns_partition: partition@50000 {
			label = "image-0-nonsecure";
		};
		slot1_partition: partition@80000 {
			label = "image-1";
		};
		slot1_ns_partition: partition@c0000 {
			label = "image-1-nonsecure";
		};
		/* 0xf0000 to 0xf7fff reserved for TF-M partitions */
		storage_partition: partition@f8000 {
			label = "storage";
			reg = <0x000f8000 0x00008000>;
		};
	};
};

/ {

	reserved-memory {
		#address-cells = <1>;
		#size-cells = <1>;
		ranges;

		sram0_s: image_s@20000000 {
			/* Secure image memory */
		};

		sram0_modem: image_modem@20016000 {
			/* Modem (shared) memory */
		};

		sram0_ns: image_ns@20020000 {
			/* Non-Secure image memory */
		};
	};
};

/* Include partition configuration file */
#include "apricity_gateway_nrf9160_partition_conf.dts"
```

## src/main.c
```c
/* Copyright (c) 2024 Nordic Semiconductor ASA
 *
 * SPDX-License-Identifier: LicenseRef-Nordic-5-Clause
 */

#include <zephyr/kernel.h>
#include <stdio.h>
#include <zephyr/logging/log.h>
#include "application.h"
#include "cloud_connection.h"
#include "message_queue.h"
#include "led_control.h"
#include "fota_support_coap.h"
#include "shadow_support_coap.h"

LOG_MODULE_REGISTER(main, CONFIG_NRFCLOUD_BLE_GATEWAY_LOG_LEVEL);

/* Here, we start the various threads that our application will run in */

#ifndef CONFIG_LED_INDICATION_DISABLED
/* Define, and automatically start the LED animation thread. See led_control.c */
K_THREAD_DEFINE(led_thread, CONFIG_LED_THREAD_STACK_SIZE, led_animation_thread_fn,
		NULL, NULL, NULL, 0, 0, 0);
#endif

/* Define, and automatically start the main application thread. See application.c */
K_THREAD_DEFINE(app_thread, CONFIG_APPLICATION_THREAD_STACK_SIZE, main_application_thread_fn,
		NULL, NULL, NULL, 0, 0, 0);

/* Define, and automatically start the message queue thread. See message_queue.c */
K_THREAD_DEFINE(msg_thread, CONFIG_MESSAGE_THREAD_STACK_SIZE, message_queue_thread_fn,
		NULL, NULL, NULL, 0, 0, 0);

/* Define, and automatically start the cloud connection thread. See cloud_connection.c */
K_THREAD_DEFINE(con_thread, CONFIG_CONNECTION_THREAD_STACK_SIZE, cloud_connection_thread_fn,
		NULL, NULL, NULL, 0, 0, 0);

#if defined(CONFIG_NRF_CLOUD_COAP)
#if defined(CONFIG_COAP_FOTA)
/* Define, and automatically start the CoAP FOTA check thread. See fota_support_coap.c */
K_THREAD_DEFINE(coap_fota, CONFIG_COAP_FOTA_THREAD_STACK_SIZE, coap_fota_thread_fn,
		NULL, NULL, NULL, 0, 0, 0);
#endif

#if defined(CONFIG_COAP_SHADOW)
/* Define, and automatically start the CoAP shadow check thread. See shadow_support_coap.c */
K_THREAD_DEFINE(coap_shadow, CONFIG_COAP_SHADOW_THREAD_STACK_SIZE, coap_shadow_thread_fn,
		NULL, NULL, NULL, 0, 0, 0);
#endif
#endif /* CONFIG_NRF_CLOUD_COAP */

/* main() is called from the main thread, which defaults to priority zero,
 * but for illustrative purposes we don't use it. main_application() could be called directly
 * from this function, rather than given its own dedicated thread.
 */
int main(void)
{
	const char *protocol;

	if (IS_ENABLED(CONFIG_NRF_CLOUD_MQTT)) {
		protocol = "MQTT";
	} else if (IS_ENABLED(CONFIG_NRF_CLOUD_COAP)) {
		protocol = "CoAP";
	}

	LOG_INF("nRF Cloud BLE gateway sample has started, version: %s, protocol: %s",
		CONFIG_APP_VERSION, protocol);

	return 0;
}
```

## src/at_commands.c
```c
/* Copyright (c) 2023 Nordic Semiconductor ASA
 *
 * SPDX-License-Identifier: LicenseRef-Nordic-5-Clause
 */

#include <zephyr/kernel.h>
#include <zephyr/logging/log.h>
#include <nrf_modem_at.h>
#include <nrf_errno.h>
#include <cJSON.h>
#include <stdio.h>

#include "nrf_cloud_codec_internal.h"
#include "cloud_connection.h"
#include "at_commands.h"

LOG_MODULE_REGISTER(at_cmd_execution, CONFIG_NRFCLOUD_BLE_GATEWAY_LOG_LEVEL);

/* AT command request error handling */
#define AT_CMD_REQUEST_ERR_FORMAT "Error while processing AT command request: %d"
#define AT_CMD_REQUEST_ERR_MAX_LEN (sizeof(AT_CMD_REQUEST_ERR_FORMAT) + 20)
BUILD_ASSERT(CONFIG_AT_CMD_REQUEST_RESPONSE_BUFFER_LENGTH >= AT_CMD_REQUEST_ERR_MAX_LEN,
	     "Not enough AT command response buffer for printing error events.");

/* Buffer to contain modem responses when performing AT command requests */
static char at_cmd_resp_buf[CONFIG_AT_CMD_REQUEST_RESPONSE_BUFFER_LENGTH];

char *execute_at_cmd_request(const char *const cmd)
{
	LOG_DBG("Modem AT command requested: %s", cmd);

	/* Clear the response buffer */
	memset(at_cmd_resp_buf, 0, sizeof(at_cmd_resp_buf));

	/* Pass the command off to the modem.
	 *
	 * We must pass the command in using a format specifier it might contain special characters
	 * such as %.
	 *
	 * We subtract 1 from the passed-in response buffer length to ensure that the response is
	 * always null-terminated, even when the response is longer than the response buffer size.
	 */

	int err = nrf_modem_at_cmd(at_cmd_resp_buf, sizeof(at_cmd_resp_buf) - 1, "%s", cmd);

	/* Post-process the response */
	LOG_DBG("Modem AT command response (%d, %d): %s",
		nrf_modem_at_err_type(err), nrf_modem_at_err(err), at_cmd_resp_buf);

	/* Trim \r\n from modem response for better readability in the portal. */
	at_cmd_resp_buf[MAX(0, strlen(at_cmd_resp_buf) - 2)] = '\0';

	/* If an error occurred with the request, report it */
	if (err < 0) {
		/* Negative error codes indicate an error with the modem lib itself, so the
		 * response buffer will be empty (or filled with junk). Thus, we can print the
		 * error message directly into it.
		 */
		snprintf(at_cmd_resp_buf, sizeof(at_cmd_resp_buf), AT_CMD_REQUEST_ERR_FORMAT, err);
		LOG_ERR("%s", at_cmd_resp_buf);
	}

	/* Return a pointer to the start of the command response buffer (which is now populated with
	 * the AT command response)
	 */
	return &at_cmd_resp_buf[0];
}
```

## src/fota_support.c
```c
/* Copyright (c) 2022 Nordic Semiconductor ASA
 *
 * SPDX-License-Identifier: LicenseRef-Nordic-5-Clause
 */

#include <zephyr/kernel.h>
#include <zephyr/logging/log.h>
#include <net/nrf_cloud.h>

#include "fota_support.h"
#include "sample_reboot.h"

LOG_MODULE_REGISTER(fota_support, CONFIG_NRFCLOUD_BLE_GATEWAY_LOG_LEVEL);

void on_fota_downloaded(void)
{
	sample_reboot_normal();
}

struct dfu_target_fmfu_fdev *get_full_modem_fota_fdev(void)
{
	if (IS_ENABLED(CONFIG_NRF_CLOUD_FOTA_FULL_MODEM_UPDATE)) {
		static struct dfu_target_fmfu_fdev ext_flash_dev = {
			.size = 0,
			.offset = 0,
			/* CONFIG_DFU_TARGET_FULL_MODEM_USE_EXT_PARTITION is enabled,
			 * so no need to specify the flash device here
			 */
			.dev = NULL
		};

		return &ext_flash_dev;
	}

	return NULL;
}

/* You may notice there is no logic to actually receive/download/apply FOTA updates.
 * That is because these features are automatically implemented for MQTT by enabling
 * CONFIG_NRF_CLOUD_FOTA (which is implicitly enabled by CONFIG_NRF_CLOUD_MQTT).
 *
 * Note, also that connection.c is responsible for actually enabling FOTA in the nRF
 * Cloud portal, (by correctly updating the device shadow) as well as for notifying
 * fota_support.c of FOTA download completion.
 */
```

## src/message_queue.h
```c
/* Copyright (c) 2023 Nordic Semiconductor ASA
 *
 * SPDX-License-Identifier: LicenseRef-Nordic-5-Clause
 */

#ifndef _MESSAGE_QUEUE_H_
#define _MESSAGE_QUEUE_H_
#include <net/nrf_cloud_codec.h>

/**
 * @brief Schedule a cloud object to be sent as a device message payload. The message will
 *	  be held asynchronously until a valid nRF Cloud connection is established.
 *	  Caller is no longer responsible for device message memory after function returns.
 * @return int - 0 on success, otherwise negative error.
 */
int send_device_message(struct nrf_cloud_obj *const msg_obj);

/**
 * @brief The message queue thread function.
 * Continually consumes device messages from the device message queue.
 */
void message_queue_thread_fn(void);

#endif /* _MESSAGE_QUEUE_H_ */
```

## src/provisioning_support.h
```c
/* Copyright (c) 2023 Nordic Semiconductor ASA
 *
 * SPDX-License-Identifier: LicenseRef-Nordic-5-Clause
 */

#ifndef _SAMPLE_REBOOT_H_
#define _SAMPLE_REBOOT_H_

#include <zephyr/kernel.h>

/**
 * @brief Sleep until the provisioning library is idle.
 *
 * @param timeout - The time to wait before timing out.
 * @return true if the provisioning library became idle in time.
 * @return false if timed out.
 */
#if defined(CONFIG_NRF_PROVISIONING)

bool await_provisioning_idle(k_timeout_t timeout);

#else /*CONFIG_NRF_PROVISIONING*/

static inline bool await_provisioning_idle(k_timeout_t timeout)
{
	return true;
}

#endif /*CONFIG_NRF_PROVISIONING*/

#endif /* _SAMPLE_REBOOT_H_ */
```
